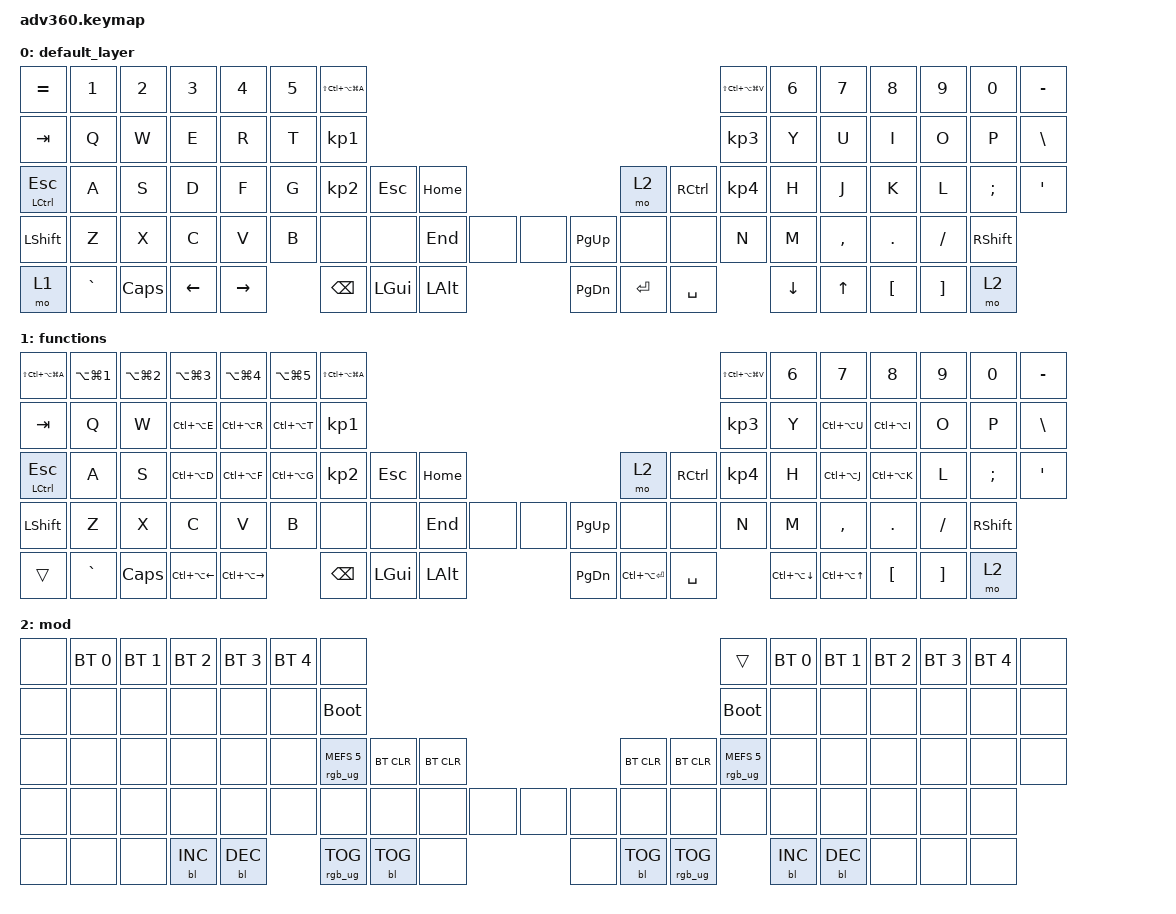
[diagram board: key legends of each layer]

/*
 * Copyright (c) 2020 The ZMK Contributors
 *
 * SPDX-License-Identifier: MIT
 */


#include <behaviors.dtsi>
#include <dt-bindings/zmk/keys.h>
#include <dt-bindings/zmk/bt.h>
#include <dt-bindings/zmk/rgb.h>
#include <dt-bindings/zmk/backlight.h>

/ {
  behaviors {
    #include "macros.dtsi"

      hm: homerow_mods {
          compatible = "zmk,behavior-hold-tap";
          label = "HOMEROW_MODS";
          #binding-cells = <2>;
          tapping-term-ms = <200>;
          quick_tap_ms = <175>;
          flavor = "tap-preferred";
          bindings = <&kp>, <&kp>;
      };
    };

    keymap {
        compatible = "zmk,keymap";


      default_layer {
        bindings = <
          &kp EQUAL &kp N1    &kp N2   &kp N3   &kp N4     &kp N5 &kp LS(LC(LA(LG(A))))                                                                      &kp LS(LC(LA(LG(V)))) &kp N6 &kp N7 &kp N8    &kp N9   &kp N0   &kp MINUS
          &kp TAB   &kp Q     &kp W    &kp E    &kp R      &kp T  &kp KP_NUMBER_1                                                      &kp KP_NUMBER_3 &kp Y  &kp U  &kp I     &kp O    &kp P    &kp BSLH
          &mt LCTRL ESC   &kp A     &kp S    &kp D    &kp F      &kp G  &kp KP_NUMBER_2    &kp ESC &kp HOME                    &mo 2  &kp RCTRL                   &kp KP_NUMBER_4 &kp H  &kp J  &kp K     &kp L    &kp SEMI &kp SQT
          &kp LSHFT &kp Z     &kp X    &kp C    &kp V      &kp B        &none     &none     &kp END &none &none &kp PG_UP &none     &none            &kp N  &kp M  &kp COMMA &kp DOT  &kp FSLH &kp RSHFT
          &mo 1     &kp GRAVE &kp CAPS &kp LEFT &kp RIGHT               &kp BKSP &kp LGUI   &kp LALT              &kp PG_DN &kp ENTER &kp SPACE &kp DOWN &kp UP  &kp LBKT &kp RBKT &mo 2
          >;
      };
      functions {
        bindings = <
          &kp LS(LC(LA(LG(A)))) &kp LA(LG(N1))    &kp LA(LG(N2))   &kp LA(LG(N3))   &kp LA(LG(N4))     &kp LA(LG(N5)) &kp LS(LC(LA(LG(A))))                                                                      &kp LS(LC(LA(LG(V)))) &kp N6 &kp N7 &kp N8    &kp N9   &kp N0   &kp MINUS
          &kp TAB   &kp Q     &kp W    &kp LC(LA(E))    &kp LC(LA(R))      &kp LC(LA(T))  &kp KP_NUMBER_1                                                      &kp KP_NUMBER_3 &kp Y  &kp LC(LA(U))  &kp LC(LA(I))     &kp O    &kp P    &kp BSLH
          &mt LCTRL ESC   &kp A     &kp S    &kp LC(LA(D))    &kp LC(LA(F))      &kp LC(LA(G))  &kp KP_NUMBER_2    &kp ESC &kp HOME                    &mo 2  &kp RCTRL                   &kp KP_NUMBER_4 &kp H  &kp LC(LA(J))  &kp LC(LA(K))     &kp L    &kp SEMI &kp SQT
          &kp LSHFT &kp Z     &kp X    &kp C    &kp V      &kp B        &none     &none     &kp END &none &none &kp PG_UP &none     &none            &kp N  &kp M  &kp COMMA &kp DOT  &kp FSLH &kp RSHFT
          &trans     &kp GRAVE &kp CAPS &kp LC(LA(LEFT)) &kp LC(LA(RIGHT)) &kp BKSP  &kp LGUI   &kp LALT              &kp PG_DN &kp LC(LA(ENTER)) &kp SPACE               &kp LC(LA(DOWN)) &kp LC(LA(UP))  &kp LBKT &kp RBKT &mo 2
        >;
      };
      mod {
        bindings = <
          &none &bt BT_SEL 0 &bt BT_SEL 1 &bt BT_SEL 2 &bt BT_SEL 3 &bt BT_SEL 4 &none                                                                                                  &trans        &bt BT_SEL 0 &bt BT_SEL 1 &bt BT_SEL 2 &bt BT_SEL 3 &bt BT_SEL 4 &none
          &none &none        &none        &none        &none        &none        &bootloader                                                                                            &bootloader   &none        &none        &none        &none        &none        &none
          &none &none        &none        &none        &none        &none        &rgb_ug RGB_MEFS_CMD 5    &bt BT_CLR &bt BT_CLR             &bt BT_CLR &bt BT_CLR         &rgb_ug RGB_MEFS_CMD 5    &none        &none        &none        &none        &none        &none
          &none &none        &none        &none        &none        &none                   &none           &none      &none     &none &none &none      &none      &none                   &none        &none        &none        &none        &none        &none
          &none &none        &none        &bl BL_INC   &bl BL_DEC                           &rgb_ug RGB_TOG &bl BL_TOG &none                 &none      &bl BL_TOG &rgb_ug RGB_TOG                      &bl BL_INC   &bl BL_DEC   &none        &none        &none
        >;
      };
    };
};
